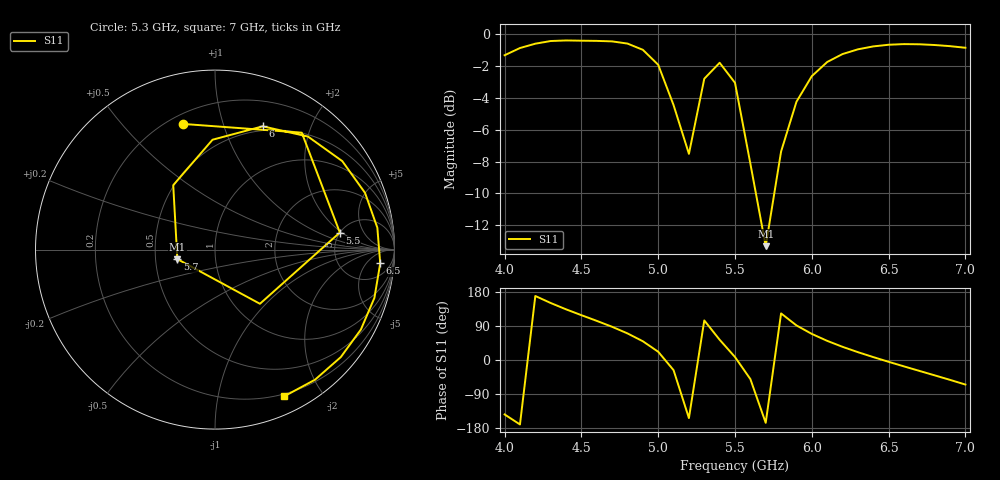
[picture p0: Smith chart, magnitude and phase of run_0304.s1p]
! Touchstone file exported from HFSS 2024.2.0
!  File:  C:/Users/wsak9/Desktop/Sim Fast/Widenad Patch/WP_AI_V1_sweep.aedt
!  Generated:  03:50:26 AM Oct 14, 2026
!  Design:  A1_model
!  Project:  WP_AI_V1_sweep
!  Setup:  Setup1
!  Solution:  Sweep
! Variables:
!  Air_gap = 3.63mm
!  Curve_Amp1 = 3.7
!  Curve_len1 = 1
!  Curve_pos = 11.215mm
!  Extra = 7.59mm
!  H_sub = 0.79mm
!  L_Patch = 18.43mm
!  L_Patch1 = 23.26mm
!  Sx = 3.98mm
!  Sy = 1.25mm
!  WS = 0.56mm
!  W_Patch = 19.97mm
!  W_Patch1 = 15.67mm
!Data is not renormalized
# GHz S MA
! Terminal data exported
! Port[1] = 1
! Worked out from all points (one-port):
!   31 points, 4 GHz to 7 GHz, reference per port
!   lowest |S11| = -13.3 dB at 5.7 GHz (marker M1), VSWR 1.55
!   |S11| at or under -10 dB: 5.636 GHz to 5.756 GHz (119.5 MHz wide, 2.1 % of centre)
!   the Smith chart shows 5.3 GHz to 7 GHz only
!   S11 on the Smith chart (normalised r, x): 5.3 GHz: 0.25, +0.74; 5.5 GHz: 4.98, +1.87; 5.7 GHz: 0.65, -0.07; 6 GHz: 0.45, +1.36; 6.5 GHz: 12, -13; 7 GHz: 0.17, -1.56
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4  0.8564 -143.7
4.1  0.9021 -170.1
4.2  0.9308 168.9
4.3  0.9489 150.4
4.4  0.9527 133.7
4.5  0.9511 118.3
4.6  0.9498 103.3
4.7  0.9463 87.6
4.8  0.9315 70.2
4.9  0.8907 49.5
5  0.7995 21.8
5.1  0.598 -26.8
5.2  0.4207 -153.3
5.3  0.7231 104.4
5.4  0.8112 53.4
5.5  0.7021 7.8
5.6  0.3921 -50.3
5.7  0.2163 -165.8
5.8  0.4277 123.0
5.9  0.6123 91.3
6  0.7366 68.8
6.1  0.8155 50.5
6.2  0.8637 34.8
6.3  0.8936 20.7
6.5  0.9237 -4.8
6.7  0.9268 -28.7
6.9  0.9143 -52.5
7  0.9039 -64.8
